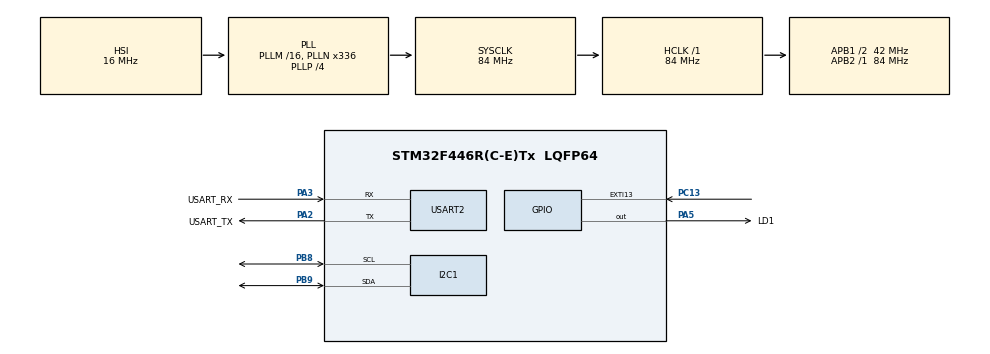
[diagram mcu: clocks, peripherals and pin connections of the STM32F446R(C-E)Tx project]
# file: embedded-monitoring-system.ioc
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Mcu.Family=STM32F4
Mcu.Name=STM32F446R(C-E)Tx
Mcu.Package=LQFP64
NUCLEO-F446RE.BUTTON=1
NUCLEO-F446RE.LD1=true
NVIC.EXTI15_10_IRQn=true\:0\:0\:false\:false\:true\:false\:true\:true
NVIC.PriorityGroup=NVIC_PRIORITYGROUP_0
PA13.GPIO_Label=TMS
PA13.Signal=SYS_JTMS-SWDIO
PA14.GPIO_Label=TCK
PA14.Signal=SYS_JTCK-SWCLK
PA2.GPIO_Label=USART_TX
PA2.Mode=Asynchronous
PA2.Signal=USART2_TX
PA3.GPIO_Label=USART_RX
PA3.Mode=Asynchronous
PA3.Signal=USART2_RX
PA5.GPIO_Label=LD1
PA5.Signal=GPIO_Output
PB3.GPIO_Label=SWO
PB3.Signal=SYS_JTDO-SWO
PB8.Mode=I2C
PB8.Signal=I2C1_SCL
PB9.Mode=I2C
PB9.Signal=I2C1_SDA
PC13.Signal=GPXTI13
PC14-OSC32_IN.Signal=RCC_OSC32_IN
PC15-OSC32_OUT.Signal=RCC_OSC32_OUT
PH0-OSC_IN.Signal=RCC_OSC_IN
PH1-OSC_OUT.Signal=RCC_OSC_OUT
ProjectManager.HeapSize=0x200
ProjectManager.StackSize=0x400
ProjectManager.TargetToolchain=STM32CubeIDE
RCC.AHBFreq_Value=84000000
RCC.APB1CLKDivider=RCC_HCLK_DIV2
RCC.APB1Freq_Value=42000000
RCC.APB1TimFreq_Value=84000000
RCC.APB2Freq_Value=84000000
RCC.APB2TimFreq_Value=84000000
RCC.CortexFreq_Value=84000000
RCC.FLatency-AdvancedSettings=FLASH_LATENCY_2
RCC.HCLKFreq_Value=84000000
RCC.HSE_VALUE=8000000
RCC.HSI_VALUE=16000000
RCC.LSE_VALUE=32768
RCC.PLLN=336
RCC.PLLP=RCC_PLLP_DIV4
RCC.SYSCLKFreq_VALUE=84000000
RCC.SYSCLKSource=RCC_SYSCLKSOURCE_PLLCLK
RCC.USBFreq_Value=168000000
RCC.VCOOutputFreq_Value=336000000
USART2.VirtualMode=VM_ASYNC
VP_NUCLEO-F446RE_VS_BSP_COMMON.Mode=COMMON
board=NUCLEO-F446RE

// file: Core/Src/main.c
/* USER CODE BEGIN Header */
/**
  ******************************************************************************
  * @file           : main.c
  * @brief          : Main program body
  ******************************************************************************
  * @attention
  *
  * Copyright (c) 2026 STMicroelectronics.
  * All rights reserved.
  *
  * This software is licensed under terms that can be found in the LICENSE file
  * in the root directory of this software component.
  * If no LICENSE file comes with this software, it is provided AS-IS.
  *
  ******************************************************************************
  */
/* USER CODE END Header */
#include "main.h"

/* USER CODE BEGIN Includes */
#include <stdio.h>
#include "mpu6050/mpu6050.h"
/* USER CODE END Includes */

I2C_HandleTypeDef hi2c1;

UART_HandleTypeDef huart2;

void SystemClock_Config(void);
static void MX_GPIO_Init(void);
static void MX_USART2_UART_Init(void);
static void MX_I2C1_Init(void);

int main(void)
{

  /* MCU Configuration--------------------------------------------------------*/

  /* Reset of all peripherals, Initializes the Flash interface and the Systick. */
  HAL_Init();

  /* Configure the system clock */
  SystemClock_Config();

  /* Initialize all configured peripherals */
  MX_GPIO_Init();
  MX_USART2_UART_Init();
  MX_I2C1_Init();
  /* USER CODE BEGIN 2 */
  mpu6050_status_t wake_status = mpu6050_wake(&hi2c1);
  if (wake_status != MPU6050_OK){
      printf("MPU6050 wake failed\r\n");
  }
  else{
	  HAL_Delay(100);
  }

  uint8_t who_am_i = 0;
  mpu6050_status_t who_am_i_status = mpu6050_read_who_am_i(&hi2c1, &who_am_i);
  printf("WHO_AM_I status: %d\r\n", who_am_i_status);
  if (who_am_i_status == MPU6050_OK)
  {
      printf("WHO_AM_I: 0x%02X\r\n", who_am_i);
  }
  else{
      printf("WHO_AM_I read failed\r\n");
  }

  int16_t ax = 0;
  int16_t ay = 0;
  int16_t az = 0;
  mpu6050_status_t accel_status = mpu6050_read_accel_raw(&hi2c1, &ax, &ay, &az);
  printf("Accel status: %d\r\n", accel_status);
  if(accel_status == MPU6050_OK){
	  printf("AX: %d AY: %d AZ: %d\r\n", ax, ay, az);
	  float ax_g = ax / 16384.0f;
	  float ay_g = ay / 16384.0f;
	  float az_g = az / 16384.0f;
	  printf("AX: %.3f g AY: %.3f g AZ: %.3f g\r\n", ax_g, ay_g, az_g);
  }
  else{
	  printf("Accel read failed\r\n");
  }

  int16_t gx = 0;
  int16_t gy = 0;
  int16_t gz = 0;
  mpu6050_status_t gyro_status = mpu6050_read_gyro_raw(&hi2c1, &gx, &gy, &gz);
  printf("Gyro status: %d\r\n", gyro_status);
  if(gyro_status == MPU6050_OK){
	  printf("GX: %d GY: %d GZ: %d\r\n", gx, gy, gz);
	  float gx_dps = gx / 131.0f;
	  float gy_dps = gy / 131.0f;
	  float gz_dps = gz / 131.0f;
	  printf("GX: %.3f dps GY: %.3f dps GZ: %.3f dps\r\n", gx_dps, gy_dps, gz_dps);
  }
  else{
	  printf("Gyro read failed\r\n");
  }

  printf(
      "=================================\r\n"
      "Embedded Monitoring System\r\n"
      "Board    : NUCLEO-F446RE\r\n"
      "Firmware : 0.1.0\r\n"
      "Build    : Debug\r\n"
      "=================================\r\n"
      "Boot OK\r\n"
  );
  /* USER CODE END 2 */

  /* Initialize leds */
  BSP_LED_Init(LED2);

  /* Initialize USER push-button, will be used to trigger an interrupt each time it's pressed.*/
  BSP_PB_Init(BUTTON_USER, BUTTON_MODE_EXTI);

  /* Infinite loop */
  /* USER CODE BEGIN WHILE */
  while (1)
  {
	  HAL_GPIO_WritePin(LD1_GPIO_Port, LD1_Pin, SET);
	  HAL_Delay(500);
	  HAL_GPIO_WritePin(LD1_GPIO_Port, LD1_Pin, RESET);
	  HAL_Delay(500);
    /* USER CODE END WHILE */

  }
}

void SystemClock_Config(void)
{
  RCC_OscInitTypeDef RCC_OscInitStruct = {0};
  RCC_ClkInitTypeDef RCC_ClkInitStruct = {0};

  /** Configure the main internal regulator output voltage
  */
  __HAL_RCC_PWR_CLK_ENABLE();
  __HAL_PWR_VOLTAGESCALING_CONFIG(PWR_REGULATOR_VOLTAGE_SCALE3);

  /** Initializes the RCC Oscillators according to the specified parameters
  * in the RCC_OscInitTypeDef structure.
  */
  RCC_OscInitStruct.OscillatorType = RCC_OSCILLATORTYPE_HSI;
  RCC_OscInitStruct.HSIState = RCC_HSI_ON;
  RCC_OscInitStruct.HSICalibrationValue = RCC_HSICALIBRATION_DEFAULT;
  RCC_OscInitStruct.PLL.PLLState = RCC_PLL_ON;
  RCC_OscInitStruct.PLL.PLLSource = RCC_PLLSOURCE_HSI;
  RCC_OscInitStruct.PLL.PLLM = 16;
  RCC_OscInitStruct.PLL.PLLN = 336;
  RCC_OscInitStruct.PLL.PLLP = RCC_PLLP_DIV4;
  RCC_OscInitStruct.PLL.PLLQ = 2;
  RCC_OscInitStruct.PLL.PLLR = 2;
  if (HAL_RCC_OscConfig(&RCC_OscInitStruct) != HAL_OK)
  {
    Error_Handler();
  }

  /** Initializes the CPU, AHB and APB buses clocks
  */
  RCC_ClkInitStruct.ClockType = RCC_CLOCKTYPE_HCLK|RCC_CLOCKTYPE_SYSCLK
                              |RCC_CLOCKTYPE_PCLK1|RCC_CLOCKTYPE_PCLK2;
  RCC_ClkInitStruct.SYSCLKSource = RCC_SYSCLKSOURCE_PLLCLK;
  RCC_ClkInitStruct.AHBCLKDivider = RCC_SYSCLK_DIV1;
  RCC_ClkInitStruct.APB1CLKDivider = RCC_HCLK_DIV2;
  RCC_ClkInitStruct.APB2CLKDivider = RCC_HCLK_DIV1;

  if (HAL_RCC_ClockConfig(&RCC_ClkInitStruct, FLASH_LATENCY_2) != HAL_OK)
  {
    Error_Handler();
  }
}

static void MX_I2C1_Init(void)
{

  hi2c1.Instance = I2C1;
  hi2c1.Init.ClockSpeed = 100000;
  hi2c1.Init.DutyCycle = I2C_DUTYCYCLE_2;
  hi2c1.Init.OwnAddress1 = 0;
  hi2c1.Init.AddressingMode = I2C_ADDRESSINGMODE_7BIT;
  hi2c1.Init.DualAddressMode = I2C_DUALADDRESS_DISABLE;
  hi2c1.Init.OwnAddress2 = 0;
  hi2c1.Init.GeneralCallMode = I2C_GENERALCALL_DISABLE;
  hi2c1.Init.NoStretchMode = I2C_NOSTRETCH_DISABLE;
  if (HAL_I2C_Init(&hi2c1) != HAL_OK)
  {
    Error_Handler();
  }

}

static void MX_USART2_UART_Init(void)
{

  huart2.Instance = USART2;
  huart2.Init.BaudRate = 115200;
  huart2.Init.WordLength = UART_WORDLENGTH_8B;
  huart2.Init.StopBits = UART_STOPBITS_1;
  huart2.Init.Parity = UART_PARITY_NONE;
  huart2.Init.Mode = UART_MODE_TX_RX;
  huart2.Init.HwFlowCtl = UART_HWCONTROL_NONE;
  huart2.Init.OverSampling = UART_OVERSAMPLING_16;
  if (HAL_UART_Init(&huart2) != HAL_OK)
  {
    Error_Handler();
  }

}

static void MX_GPIO_Init(void)
{
  GPIO_InitTypeDef GPIO_InitStruct = {0};

  /* GPIO Ports Clock Enable */
  __HAL_RCC_GPIOC_CLK_ENABLE();
  __HAL_RCC_GPIOH_CLK_ENABLE();
  __HAL_RCC_GPIOA_CLK_ENABLE();
  __HAL_RCC_GPIOB_CLK_ENABLE();

  /*Configure GPIO pin Output Level */
  HAL_GPIO_WritePin(LD1_GPIO_Port, LD1_Pin, GPIO_PIN_RESET);

  /*Configure GPIO pin : LD1_Pin */
  GPIO_InitStruct.Pin = LD1_Pin;
  GPIO_InitStruct.Mode = GPIO_MODE_OUTPUT_PP;
  GPIO_InitStruct.Pull = GPIO_NOPULL;
  GPIO_InitStruct.Speed = GPIO_SPEED_FREQ_LOW;
  HAL_GPIO_Init(LD1_GPIO_Port, &GPIO_InitStruct);

}

/* USER CODE BEGIN 4 */
int _write(int file, char *ptr, int len)
{
    HAL_UART_Transmit(&huart2, (uint8_t *)ptr, len, HAL_MAX_DELAY);
    return len;
}
/* USER CODE END 4 */

void Error_Handler(void)
{
  __disable_irq();
  while (1)
  {
  }
}
